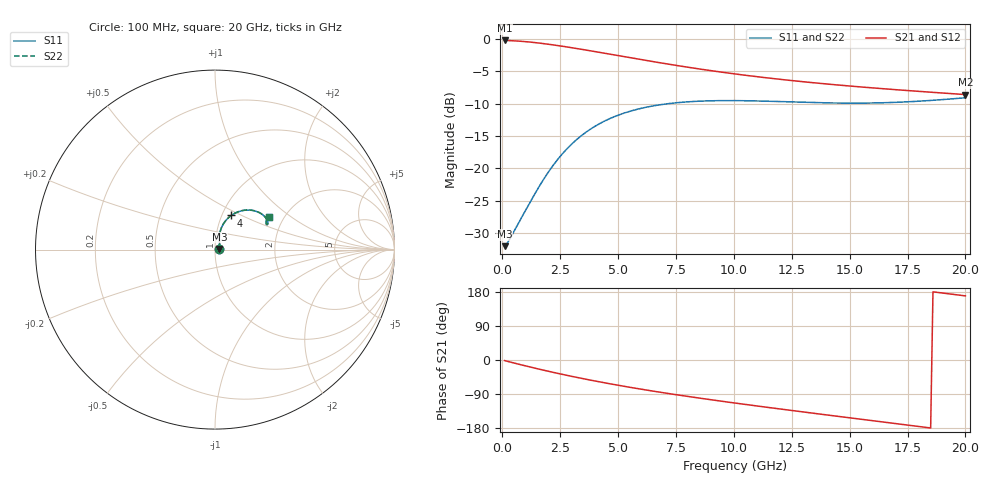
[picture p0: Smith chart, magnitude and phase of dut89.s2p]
! Touchstone file exported from HFSS 2024.1.0
!  File:  C:/UserFiles/LocalFiles/RDL_TSV_Batchsim/temp_RDL_TSV_89_1779416853.aedt
!  Generated:  10:42:29 AM May 22, 2026
!  Design:  RDL_TSV
!  Project:  temp_RDL_TSV_89_1779416853
!  Setup:  Setup1
!  Solution:  Sweep
! Variables:
!  dtsv = 7.58um
!  hbump = 3um
!  htsv = 82.58um
!  ldown = 130.31um
!  lrdl = 539.74um
!  p = 40
!  p1 = 42.19um
!  rhole = 10um
!  subl = 2549.89um
!  t = 450um
!  tdown = 3.56um
!  trdl = 2.3um
!  viad = 10um
!  wdown = 17.82um
!  wrdl = 14.75um
!  xbump = 18um
# GHz S MA R 50.000000
! Terminal data exported
! Port[1] = TM1_1_T1
! Port[2] = TM1_4_T1
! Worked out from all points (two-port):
!   200 points, 100 MHz to 20 GHz, reference 50 ohm
!   highest |S21| = -0.23 dB at 100 MHz (marker M1); lowest = -8.6 dB at 20 GHz (marker M2)
!   |S21| within 3 dB of the highest: start of sweep to 6.065 GHz
!   lowest |S11| = -32.0 dB at 100 MHz (marker M3), VSWR 1.05, Z = 52.5 + j0.441 ohm
!   |S11| at or under -10 dB: start of sweep to 7.175 GHz
!   |S22| runs from -32.1 to -9.1 dB; largest |S21 - S12| = 9.9e-15
!   S11 on the Smith chart (normalised r, x): 100 MHz: 1.05, +0.01; 4 GHz: 1.11, +0.44; 20 GHz: 1.67, +0.70
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0.1  0.02499 9.7  0.974 -1.6  0.974 -1.6  0.02495 9.6
! Gamma 0 0 0 0
! Port Impedance 50 0 50 0
0.3  0.02791 26.3  0.9717 -4.8  0.9717 -4.8  0.02784 26.2
1  0.04713 58.2  0.9536 -15.5  0.9536 -15.5  0.04689 58.2
1.6  0.07268 70.4  0.9295 -24.3  0.9295 -24.3  0.07234 70.6
2.1  0.09983 73.7  0.9051 -31.3  0.9051 -31.3  0.09946 73.9
2.4  0.1176 73.8  0.8892 -35.4  0.8892 -35.4  0.1172 74.0
2.8  0.1419 72.5  0.8673 -40.6  0.8673 -40.6  0.1416 72.8
3.5  0.1836 68.2  0.8276 -49.4  0.8276 -49.4  0.1834 68.4
4  0.2111 64.4  0.7992 -55.4  0.7992 -55.4  0.2109 64.6
4.6  0.2403 59.7  0.7658 -62.2  0.7658 -62.2  0.2402 59.9
5.3  0.2687 54.2  0.7282 -69.8  0.7282 -69.8  0.2687 54.4
6  0.291 49.2  0.6927 -77.1  0.6927 -77.1  0.2911 49.3
6.8  0.3097 44.0  0.6551 -84.9  0.6551 -84.9  0.3099 44.2
7.6  0.3222 39.5  0.621 -92.4  0.621 -92.4  0.3225 39.6
8.4  0.3296 35.6  0.5902 -99.6  0.5902 -99.6  0.33 35.8
10.1  0.3337 29.7  0.5351 -114.0  0.5351 -114.0  0.3342 29.8
11.7  0.3292 26.5  0.4941 -126.9  0.4941 -126.9  0.3298 26.7
13.4  0.3224 25.5  0.4593 -140.2  0.4593 -140.2  0.3232 25.6
15  0.319 26.2  0.4327 -152.6  0.4327 -152.6  0.3199 26.3
16.7  0.3222 28.1  0.4091 -165.6  0.4091 -165.6  0.3232 28.2
18.3  0.3329 30.0  0.3898 -177.8  0.3898 -177.8  0.3339 30.1
20  0.3511 31.4  0.3716 169.2  0.3716 169.2  0.3521 31.5
